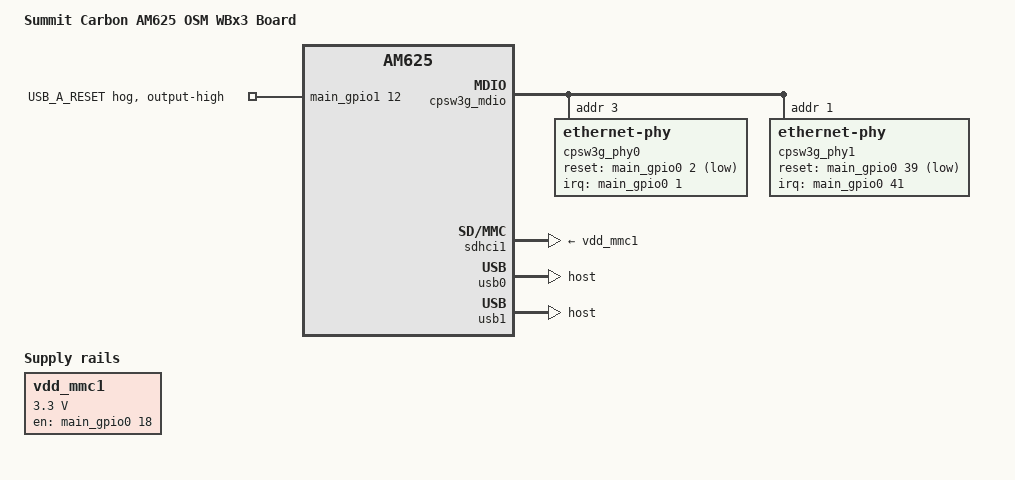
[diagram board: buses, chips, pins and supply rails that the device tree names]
// SPDX-License-Identifier: GPL-2.0-or-later OR MIT
/*
 * Copyright 2024 Ezurio LLC
 *
 */

/dts-v1/;

#include "k3-am625-carbon-som.dtsi"
#include "k3-am625-carbon-wifi-cc33xx.dtsi"

/ {
	model = "Summit Carbon AM625 OSM WBx3 Board";
	compatible = "summit,am62-wbx3", "ti,am625";

	vdd_mmc1: regulator-sdio-a {
		compatible = "regulator-fixed";
		pinctrl-names = "default";
		pinctrl-0 = <&main_vdd_sdio_a_gpio>;
		regulator-name = "vdd_mmc1";
		regulator-min-microvolt = <3300000>;
		regulator-max-microvolt = <3300000>;
		startup-delay-us = <250000>;
		enable-active-high;
		gpio = <&main_gpio0 18 GPIO_ACTIVE_HIGH>;
	};
};

&cpsw3g_mdio {
	status = "okay";

	cpsw3g_phy0: ethernet-phy@3 {
		reg = <3>;
		pinctrl-names = "default";
		pinctrl-0 = <&main_rgmii_phy0_gpio>;
		interrupt-parent = <&main_gpio0>;
		interrupts = <1 IRQ_TYPE_EDGE_FALLING>;
		reset-gpios = <&main_gpio0 2 GPIO_ACTIVE_LOW>;
		reset-assert-us = <10>;
		reset-deassert-us = <200>;
		ti,rx-internal-delay = <DP83867_RGMIIDCTL_2_25_NS>;
		ti,tx-internal-delay = <DP83867_RGMIIDCTL_2_00_NS>;
		ti,fifo-depth = <DP83867_PHYCR_FIFO_DEPTH_4_B_NIB>;
		ti,clk-output-sel = <DP83867_CLK_O_SEL_OFF>;
	};

	cpsw3g_phy1: ethernet-phy@1 {
		reg = <1>;
		pinctrl-names = "default";
		pinctrl-0 = <&main_rgmii_phy1_gpio>;
		interrupt-parent = <&main_gpio0>;
		interrupts = <41 IRQ_TYPE_EDGE_FALLING>;
		reset-gpios = <&main_gpio0 39 GPIO_ACTIVE_LOW>;
		reset-assert-us = <10>;
		reset-deassert-us = <200>;
		ti,rx-internal-delay = <DP83867_RGMIIDCTL_2_25_NS>;
		ti,tx-internal-delay = <DP83867_RGMIIDCTL_2_00_NS>;
		ti,fifo-depth = <DP83867_PHYCR_FIFO_DEPTH_4_B_NIB>;
		ti,clk-output-sel = <DP83867_CLK_O_SEL_OFF>;
	};
};

&main_pmx0 {
	main_rgmii_phy0_gpio: main-rgmii-phy0-gpio-default-pins {
		pinctrl-single,pins = <
			AM62X_IOPAD(0x0008, PIN_INPUT, 7) /* ETH_A_RST (J24) OSPI0_DQS.GPIO0_2 */
			AM62X_IOPAD(0x0004, PIN_INPUT, 7) /* ETH_A_INT (G25) OSPI0_LBCLKO.GPIO0_1 */
		>;
	};

	main_rgmii_phy1_gpio: main-rgmii-phy1-gpio-default-pins {
		pinctrl-single,pins = <
			AM62X_IOPAD(0x00a0, PIN_INPUT, 7) /* ETH_B_RST (K25) GPMC0_WPn.GPIO0_39 */
			AM62X_IOPAD(0x00a8, PIN_INPUT, 7) /* ETH_B_INT(M21) GPMC0_CSn0.GPIO0_41 */
		>;
	};

	main_vdd_sdio_a_gpio: main-vdd-sdio-a-gpio-default-pins {
		pinctrl-single,pins = <
			AM62X_IOPAD(0x0048, PIN_INPUT, 7) /* SDIO_A_PWR_EN (N25) GPMC0_AD3.GPIO0_18 */
		>;
	};

	main_usb_a_reset_pins_default: main-usb-a-reset-default-pins {
		pinctrl-single,pins = <
			AM62X_IOPAD(0x1a8, PIN_INPUT, 7) /* GPIO_A_3 (D20) MCASP0_AFSX.GPIO1_12 */
		>;
	};
};

&main_gpio1 {
	pinctrl-names = "default";
	pinctrl-0 = <&main_usb_a_reset_pins_default>;

	main-usb-a-reset {
		gpio-hog;
		output-high;
		gpios = <12 GPIO_ACTIVE_HIGH>;
		line-name = "USB_A_RESET";
	};
};

&sdhci1 { /* SDIO_A uSD / M.2_SDIO */
	status = "okay";
	vmmc-supply = <&vdd_mmc1>; /* SDIO_A_PWR_EN */
	vqmmc-supply = <&vdd_sd>; /* VSEL_SD */
	disable-wp; // MMC1_SDWP is just pulled down, so lets not use this.

	ti,driver-strength-ohm = <50>;
};

&usb0 {
	status = "okay";
	dr_mode = "host";
};

&usb1 {
	status = "okay";
	dr_mode = "host";
};
